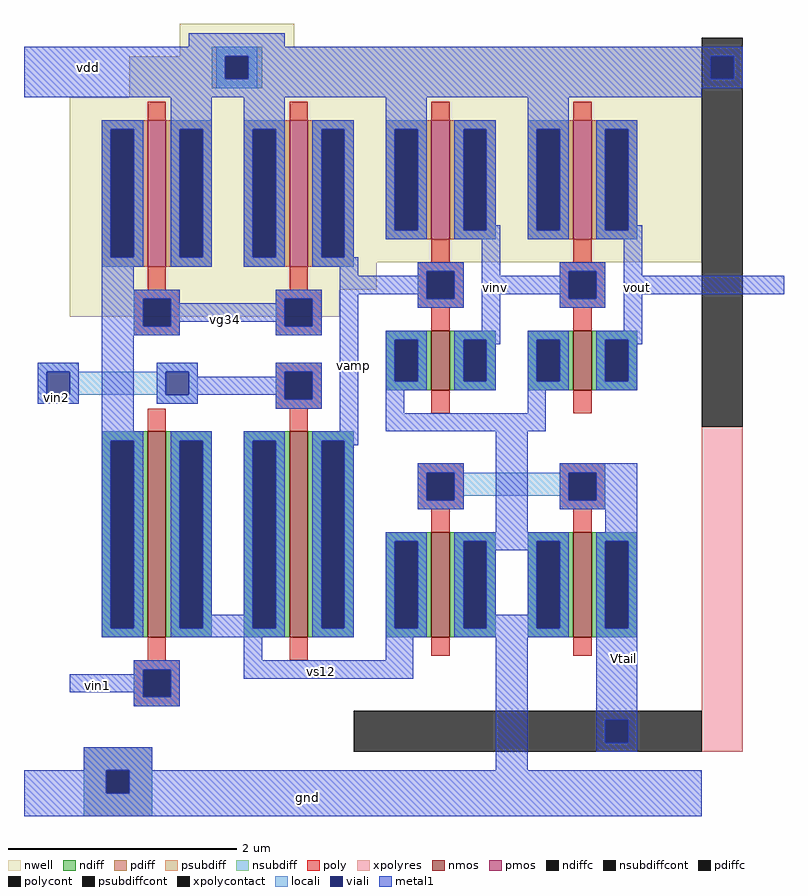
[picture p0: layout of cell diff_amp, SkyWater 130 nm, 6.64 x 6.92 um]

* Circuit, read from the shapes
.subckt diff_amp vout gnd vin1 vin2 vdd vinv vamp
XM1 vs12 vin1 vg34 gnd sky130_fd_pr__nfet_01v8 w=1.8 l=0.16
XM2 vamp vin2 vs12 gnd sky130_fd_pr__nfet_01v8 w=1.8 l=0.16
XM3 gnd Vtail vs12 gnd sky130_fd_pr__nfet_01v8 w=0.92 l=0.16
XM4 vinv vamp gnd gnd sky130_fd_pr__nfet_01v8 w=0.52 l=0.16
XM5 Vtail Vtail gnd gnd sky130_fd_pr__nfet_01v8 w=0.92 l=0.16
XM6 vout vinv gnd gnd sky130_fd_pr__nfet_01v8 w=0.52 l=0.16
XM7 vdd vg34 vg34 vdd sky130_fd_pr__pfet_01v8 w=1.28 l=0.16
XM8 vamp vg34 vdd vdd sky130_fd_pr__pfet_01v8 w=1.28 l=0.16
XM9 vinv vamp vdd vdd sky130_fd_pr__pfet_01v8 w=1.04 l=0.16
XM10 vout vinv vdd vdd sky130_fd_pr__pfet_01v8 w=1.04 l=0.16
XR11 Vtail vdd gnd sky130_fd_pr__res_xhigh_po w=0.36 l=2.84
.ends

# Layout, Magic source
magic
tech sky130A
<< nwell >>
rect -4 312 96 332
rect -4 304 452 312
rect -48 268 452 304
rect -100 124 452 268
rect -100 100 168 124
rect -100 76 136 100
<< nmos >>
rect 216 12 232 64
rect 340 12 356 64
rect -32 -204 -16 -24
rect 92 -204 108 -24
rect 216 -204 232 -112
rect 340 -204 356 -112
<< pmos >>
rect -32 120 -16 248
rect 92 120 108 248
rect 216 144 232 248
rect 340 144 356 248
<< ndiff >>
rect 176 56 216 64
rect 176 20 184 56
rect 204 20 216 56
rect 176 12 216 20
rect 232 56 272 64
rect 232 20 244 56
rect 264 20 272 56
rect 232 12 272 20
rect 300 56 340 64
rect 300 20 308 56
rect 328 20 340 56
rect 300 12 340 20
rect 356 56 396 64
rect 356 20 368 56
rect 388 20 396 56
rect 356 12 396 20
rect -72 -32 -32 -24
rect -72 -196 -64 -32
rect -44 -196 -32 -32
rect -72 -204 -32 -196
rect -16 -32 24 -24
rect -16 -196 -4 -32
rect 16 -196 24 -32
rect -16 -204 24 -196
rect 52 -32 92 -24
rect 52 -196 60 -32
rect 80 -196 92 -32
rect 52 -204 92 -196
rect 108 -32 148 -24
rect 108 -196 120 -32
rect 140 -196 148 -32
rect 108 -204 148 -196
rect 176 -120 216 -112
rect 176 -196 184 -120
rect 204 -196 216 -120
rect 176 -204 216 -196
rect 232 -120 272 -112
rect 232 -196 244 -120
rect 264 -196 272 -120
rect 232 -204 272 -196
rect 300 -120 340 -112
rect 300 -196 308 -120
rect 328 -196 340 -120
rect 300 -204 340 -196
rect 356 -120 396 -112
rect 356 -196 368 -120
rect 388 -196 396 -120
rect 356 -204 396 -196
<< pdiff >>
rect -72 240 -32 248
rect -72 128 -64 240
rect -44 128 -32 240
rect -72 120 -32 128
rect -16 240 24 248
rect -16 128 -4 240
rect 16 128 24 240
rect -16 120 24 128
rect 52 240 92 248
rect 52 128 60 240
rect 80 128 92 240
rect 52 120 92 128
rect 108 240 148 248
rect 108 128 120 240
rect 140 128 148 240
rect 176 240 216 248
rect 176 152 184 240
rect 204 152 216 240
rect 176 144 216 152
rect 232 240 272 248
rect 232 152 244 240
rect 264 152 272 240
rect 232 144 272 152
rect 300 240 340 248
rect 300 152 308 240
rect 328 152 340 240
rect 300 144 340 152
rect 356 240 396 248
rect 356 152 368 240
rect 388 152 396 240
rect 356 144 396 152
rect 108 120 148 128
<< ndiffc >>
rect 184 20 204 56
rect 244 20 264 56
rect 308 20 328 56
rect 368 20 388 56
rect -64 -196 -44 -32
rect -4 -196 16 -32
rect 60 -196 80 -32
rect 120 -196 140 -32
rect 184 -196 204 -120
rect 244 -196 264 -120
rect 308 -196 328 -120
rect 368 -196 388 -120
<< pdiffc >>
rect -64 128 -44 240
rect -4 128 16 240
rect 60 128 80 240
rect 120 128 140 240
rect 184 152 204 240
rect 244 152 264 240
rect 308 152 328 240
rect 368 152 388 240
<< psubdiff >>
rect -88 -320 -28 -300
rect -88 -340 -68 -320
rect -48 -340 -28 -320
rect -88 -360 -28 -340
<< nsubdiff >>
rect 24 304 68 312
rect 24 284 36 304
rect 56 284 68 304
rect 24 276 68 284
<< psubdiffcont >>
rect -68 -340 -48 -320
<< nsubdiffcont >>
rect 36 284 56 304
<< poly >>
rect -32 248 -16 264
rect 92 248 108 264
rect 216 248 232 264
rect 340 248 356 264
rect 216 124 232 144
rect 340 124 356 144
rect -32 100 -16 120
rect 92 100 108 120
rect 204 116 244 124
rect -44 92 -4 100
rect -44 68 -36 92
rect -12 68 -4 92
rect -44 60 -4 68
rect 80 92 120 100
rect 80 68 88 92
rect 112 68 120 92
rect 204 92 212 116
rect 236 92 244 116
rect 204 84 244 92
rect 328 116 368 124
rect 328 92 336 116
rect 360 92 368 116
rect 328 84 368 92
rect 80 60 120 68
rect 216 64 232 84
rect 340 64 356 84
rect 80 28 120 36
rect 80 4 88 28
rect 112 4 120 28
rect 80 -4 120 4
rect -32 -24 -16 -4
rect 92 -24 108 -4
rect 216 -8 232 12
rect 340 -8 356 12
rect 204 -60 244 -52
rect 204 -84 212 -60
rect 236 -84 244 -60
rect 204 -92 244 -84
rect 328 -60 368 -52
rect 328 -84 336 -60
rect 360 -84 368 -60
rect 328 -92 368 -84
rect 216 -112 232 -92
rect 340 -112 356 -92
rect -32 -224 -16 -204
rect 92 -224 108 -204
rect 216 -220 232 -204
rect 340 -220 356 -204
rect -44 -232 -4 -224
rect -44 -256 -36 -232
rect -12 -256 -4 -232
rect -44 -264 -4 -256
<< polycont >>
rect -36 68 -12 92
rect 88 68 112 92
rect 212 92 236 116
rect 336 92 360 116
rect 88 4 112 28
rect 212 -84 236 -60
rect 336 -84 360 -60
rect -36 -256 -12 -232
<< xpolycontact >>
rect 452 -20 488 320
rect 148 -304 452 -268
<< xpolyres >>
rect 452 -304 488 -20
<< locali >>
rect 28 304 64 312
rect 28 284 36 304
rect 56 284 64 304
rect 28 276 64 284
rect -72 240 -36 248
rect -72 128 -64 240
rect -44 128 -36 240
rect -72 120 -36 128
rect -12 240 24 248
rect -12 128 -4 240
rect 16 128 24 240
rect -12 120 24 128
rect 52 240 88 248
rect 52 128 60 240
rect 80 128 88 240
rect 52 120 88 128
rect 112 240 148 248
rect 112 128 120 240
rect 140 128 148 240
rect 176 240 212 248
rect 176 152 184 240
rect 204 152 212 240
rect 176 144 212 152
rect 236 240 272 248
rect 236 152 244 240
rect 264 152 272 240
rect 236 144 272 152
rect 300 240 336 248
rect 300 152 308 240
rect 328 152 336 240
rect 300 144 336 152
rect 360 240 396 248
rect 360 152 368 240
rect 388 152 396 240
rect 360 144 396 152
rect 112 120 148 128
rect 204 116 244 124
rect -44 92 -4 100
rect -44 68 -36 92
rect -12 68 -4 92
rect -44 60 -4 68
rect 80 92 120 100
rect 80 68 88 92
rect 112 68 120 92
rect 204 92 212 116
rect 236 92 244 116
rect 204 84 244 92
rect 328 116 368 124
rect 328 92 336 116
rect 360 92 368 116
rect 328 84 368 92
rect 80 60 120 68
rect 176 56 212 64
rect -128 28 -92 36
rect -24 28 12 36
rect -128 8 -120 28
rect -100 8 -16 28
rect 4 8 12 28
rect -128 0 -92 8
rect -24 0 12 8
rect 80 28 120 36
rect 80 4 88 28
rect 112 4 120 28
rect 176 20 184 56
rect 204 20 212 56
rect 176 12 212 20
rect 236 56 272 64
rect 236 20 244 56
rect 264 20 272 56
rect 236 12 272 20
rect 300 56 336 64
rect 300 20 308 56
rect 328 20 336 56
rect 300 12 336 20
rect 360 56 396 64
rect 360 20 368 56
rect 388 20 396 56
rect 360 12 396 20
rect 80 -4 120 4
rect -72 -32 -36 -24
rect -72 -196 -64 -32
rect -44 -196 -36 -32
rect -72 -204 -36 -196
rect -12 -32 24 -24
rect -12 -196 -4 -32
rect 16 -196 24 -32
rect -12 -204 24 -196
rect 52 -32 88 -24
rect 52 -196 60 -32
rect 80 -196 88 -32
rect 52 -204 88 -196
rect 112 -32 148 -24
rect 112 -196 120 -32
rect 140 -196 148 -32
rect 204 -60 244 -52
rect 328 -60 368 -52
rect 204 -84 212 -60
rect 236 -80 336 -60
rect 236 -84 244 -80
rect 204 -92 244 -84
rect 328 -84 336 -80
rect 360 -84 368 -60
rect 328 -92 368 -84
rect 112 -204 148 -196
rect 176 -120 212 -112
rect 176 -196 184 -120
rect 204 -196 212 -120
rect 176 -204 212 -196
rect 236 -120 272 -112
rect 236 -196 244 -120
rect 264 -196 272 -120
rect 236 -204 272 -196
rect 300 -120 336 -112
rect 300 -196 308 -120
rect 328 -196 336 -120
rect 300 -204 336 -196
rect 360 -120 396 -112
rect 360 -196 368 -120
rect 388 -196 396 -120
rect 360 -204 396 -196
rect -44 -232 -4 -224
rect -44 -256 -36 -232
rect -12 -256 -4 -232
rect -44 -264 -4 -256
rect -88 -320 -28 -300
rect -88 -340 -68 -320
rect -48 -340 -28 -320
rect -88 -360 -28 -340
<< viali >>
rect 36 284 56 304
rect 460 284 480 304
rect -64 128 -44 240
rect -4 128 16 240
rect 60 128 80 240
rect 120 128 140 240
rect 184 152 204 240
rect 244 152 264 240
rect 308 152 328 240
rect 368 152 388 240
rect -36 68 -12 92
rect 88 68 112 92
rect 212 92 236 116
rect 336 92 360 116
rect -120 8 -100 28
rect -16 8 4 28
rect 88 4 112 28
rect 184 20 204 56
rect 244 20 264 56
rect 308 20 328 56
rect 368 20 388 56
rect -64 -196 -44 -32
rect -4 -196 16 -32
rect 60 -196 80 -32
rect 120 -196 140 -32
rect 212 -84 236 -60
rect 336 -84 360 -60
rect 184 -196 204 -120
rect 244 -196 264 -120
rect 308 -196 328 -120
rect 368 -196 388 -120
rect -36 -256 -12 -232
rect 368 -296 388 -276
rect -68 -340 -48 -320
<< metal1 >>
rect 4 312 88 324
rect -140 304 488 312
rect -140 284 36 304
rect 56 284 460 304
rect 480 284 488 304
rect -140 276 488 284
rect -140 268 452 276
rect -72 240 -36 248
rect -72 128 -64 240
rect -44 128 -36 240
rect -72 120 -36 128
rect -12 240 24 268
rect -12 128 -4 240
rect 16 128 24 240
rect -12 120 24 128
rect 52 240 88 268
rect 52 128 60 240
rect 80 128 88 240
rect 52 120 88 128
rect 112 240 148 248
rect 112 128 120 240
rect 140 128 148 240
rect 176 240 212 268
rect 176 152 184 240
rect 204 152 212 240
rect 176 144 212 152
rect 236 240 272 248
rect 236 152 244 240
rect 264 156 272 240
rect 300 240 336 268
rect 264 152 276 156
rect 236 144 276 152
rect 300 152 308 240
rect 328 152 336 240
rect 300 144 336 152
rect 360 240 396 248
rect 360 152 368 240
rect 388 156 396 240
rect 388 152 400 156
rect 360 144 400 152
rect 112 120 152 128
rect -72 100 -44 120
rect 136 112 152 120
rect 204 116 244 124
rect 204 112 212 116
rect -72 92 -4 100
rect -72 68 -36 92
rect -12 88 -4 92
rect 80 92 120 100
rect 80 88 88 92
rect -12 72 88 88
rect -12 68 -4 72
rect -72 60 -4 68
rect 80 68 88 72
rect 112 68 120 92
rect 80 60 120 68
rect 136 96 212 112
rect -128 28 -92 36
rect -128 8 -120 28
rect -100 8 -92 28
rect -128 0 -92 8
rect -72 -24 -44 60
rect -24 28 12 36
rect -24 8 -16 28
rect 4 24 12 28
rect 80 28 120 36
rect 80 24 88 28
rect 4 8 88 24
rect -24 0 12 8
rect 80 4 88 8
rect 112 4 120 28
rect 80 -4 120 4
rect 136 -24 152 96
rect 204 92 212 96
rect 236 92 244 116
rect 204 84 244 92
rect 260 112 276 144
rect 328 116 368 124
rect 328 112 336 116
rect 260 96 336 112
rect 260 64 276 96
rect 328 92 336 96
rect 360 92 368 116
rect 328 84 368 92
rect 384 112 400 144
rect 384 96 524 112
rect 384 64 400 96
rect 176 56 212 64
rect 176 20 184 56
rect 204 20 212 56
rect 176 12 212 20
rect 236 56 276 64
rect 236 20 244 56
rect 264 52 276 56
rect 300 56 336 64
rect 264 20 272 52
rect 236 12 272 20
rect 300 20 308 56
rect 328 20 336 56
rect 300 12 336 20
rect 360 56 400 64
rect 360 20 368 56
rect 388 52 400 56
rect 388 20 396 52
rect 360 12 396 20
rect 176 -8 192 12
rect 300 -8 316 12
rect 176 -24 316 -8
rect -72 -32 -36 -24
rect -72 -196 -64 -32
rect -44 -196 -36 -32
rect -72 -204 -36 -196
rect -12 -32 24 -24
rect -12 -196 -4 -32
rect 16 -184 24 -32
rect 52 -32 88 -24
rect 52 -184 60 -32
rect 16 -196 60 -184
rect 80 -196 88 -32
rect -12 -204 88 -196
rect 112 -32 152 -24
rect 112 -196 120 -32
rect 140 -36 152 -32
rect 140 -196 148 -36
rect 204 -60 244 -52
rect 204 -84 212 -60
rect 236 -84 244 -60
rect 204 -92 244 -84
rect 272 -112 300 -24
rect 328 -60 396 -52
rect 328 -84 336 -60
rect 360 -84 396 -60
rect 328 -92 396 -84
rect 368 -112 396 -92
rect 112 -204 148 -196
rect 176 -120 212 -112
rect 176 -196 184 -120
rect 204 -196 212 -120
rect 176 -204 212 -196
rect 236 -120 336 -112
rect 236 -196 244 -120
rect 264 -128 308 -120
rect 264 -184 272 -128
rect 300 -184 308 -128
rect 264 -196 308 -184
rect 328 -196 336 -120
rect 236 -204 336 -196
rect 360 -120 396 -112
rect 360 -196 368 -120
rect 388 -196 396 -120
rect 52 -224 68 -204
rect 176 -224 200 -204
rect -44 -232 -4 -224
rect -44 -236 -36 -232
rect -100 -252 -36 -236
rect -44 -256 -36 -252
rect -12 -256 -4 -232
rect 52 -240 200 -224
rect -44 -264 -4 -256
rect -88 -320 -28 -300
rect 272 -320 300 -204
rect 360 -276 396 -196
rect 360 -296 368 -276
rect 388 -296 396 -276
rect 360 -304 396 -296
rect -140 -340 -68 -320
rect -48 -340 452 -320
rect -140 -360 452 -340
<< labels >>
rlabel metal1 268 100 276 104 1 vinv
port 6 n
rlabel metal1 392 100 400 104 1 vout
port 1 n
rlabel metal1 -116 4 -108 8 1 vin2
port 4 n
rlabel metal1 -80 -248 -72 -244 1 vin1
port 3 n
rlabel metal1 32 72 40 76 1 vg34
rlabel metal1 144 32 152 36 1 vamp
port 7 n
rlabel metal1 116 -236 124 -232 1 vs12
rlabel metal1 380 -224 388 -220 1 Vtail
rlabel metal1 104 -348 112 -340 1 gnd
port 2 n
rlabel metal1 -88 292 -80 296 1 vdd
port 5 n
<< end >>
